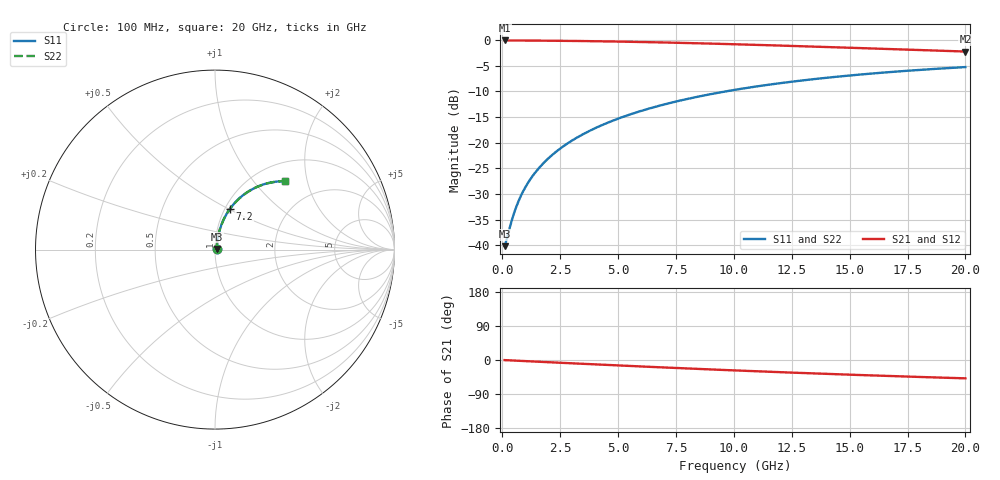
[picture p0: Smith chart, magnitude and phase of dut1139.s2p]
! Touchstone file exported from HFSS 2024.1.0
!  File:  C:/UserFiles/LocalFiles/RDL_TSV_Batchsim/temp_RDL_top_1139_1780047716.aedt
!  Generated:  05:44:10 PM May 29, 2026
!  Design:  RDL_top
!  Project:  temp_RDL_top_1139_1780047716
!  Setup:  Setup1
!  Solution:  Sweep
! Variables:
!  dtsv = 10.80580581um
!  hbump = 3um
!  htsv = 58.33um
!  ldown = 100um
!  lrdl = 610.89um
!  p = 40
!  p1 = 49.19um
!  rhole = 1um
!  t = 450um
!  tdown = 3.915915916um
!  trdl = 2.15um
!  wdown = 15.38538539um
!  wrdl = 11um
# GHz S MA R 50.000000
! Terminal data exported
! Port[1] = Box2_T1
! Port[2] = Box2_T2
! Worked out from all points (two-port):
!   200 points, 100 MHz to 20 GHz, reference 50 ohm
!   highest |S21| = -0.08 dB at 100 MHz (marker M1); lowest = -2.2 dB at 20 GHz (marker M2)
!   |S21| within 3 dB of the highest: start of sweep to end of sweep
!   lowest |S11| = -40.2 dB at 100 MHz (marker M3), VSWR 1.02, Z = 50.9 + j0.366 ohm
!   |S11| at or under -10 dB: start of sweep to 9.654 GHz
!   |S22| runs from -40.2 to -5.3 dB; largest |S21 - S12| = 4.4e-15
!   S11 on the Smith chart (normalised r, x): 100 MHz: 1.02, +0.01; 7.2 GHz: 1.06, +0.51; 20 GHz: 1.36, +1.47
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0.1  0.009821 21.5  0.9909 -0.3  0.9909 -0.3  0.009821 21.5
! Gamma 0 0 0 0
! Port Impedance 50 0 50 0
0.2  0.01169 37.9  0.9908 -0.6  0.9908 -0.6  0.01169 37.9
0.4  0.01721 56.2  0.9905 -1.2  0.9905 -1.2  0.01721 56.2
0.5  0.02035 61.2  0.9903 -1.5  0.9903 -1.5  0.02035 61.2
0.7  0.02691 67.3  0.9899 -2.1  0.9899 -2.1  0.02691 67.3
1  0.03697 71.9  0.9891 -3.0  0.9891 -3.0  0.03697 71.9
1.3  0.04708 74.3  0.9881 -3.8  0.9881 -3.8  0.04708 74.3
1.7  0.0606 75.9  0.9867 -5.0  0.9867 -5.0  0.0606 75.9
2.2  0.0775 76.7  0.9847 -6.4  0.9847 -6.4  0.0775 76.7
2.8  0.09779 76.8  0.9818 -8.2  0.9818 -8.2  0.09779 76.8
3.5  0.1214 76.3  0.9777 -10.2  0.9777 -10.2  0.1214 76.3
4.2  0.1449 75.4  0.9728 -12.1  0.9728 -12.1  0.1449 75.4
5  0.1715 74.1  0.9664 -14.4  0.9664 -14.4  0.1714 74.1
5.9  0.2009 72.5  0.9582 -16.8  0.9582 -16.8  0.2009 72.4
6.8  0.2298 70.7  0.949 -19.2  0.949 -19.2  0.2297 70.6
7.2  0.2424 69.8  0.9447 -20.3  0.9447 -20.3  0.2423 69.8
8.6  0.2853 66.9  0.9284 -23.9  0.9284 -23.9  0.2852 66.8
10.1  0.3289 63.6  0.9093 -27.6  0.9093 -27.6  0.3288 63.6
11.7  0.3724 60.2  0.8878 -31.5  0.8878 -31.5  0.3722 60.2
13.4  0.4149 56.7  0.8641 -35.3  0.8641 -35.3  0.4148 56.6
16.7  0.4868 50.2  0.8176 -42.2  0.8176 -42.2  0.4866 50.2
20  0.5454 44.3  0.7729 -48.4  0.7729 -48.4  0.5452 44.3
